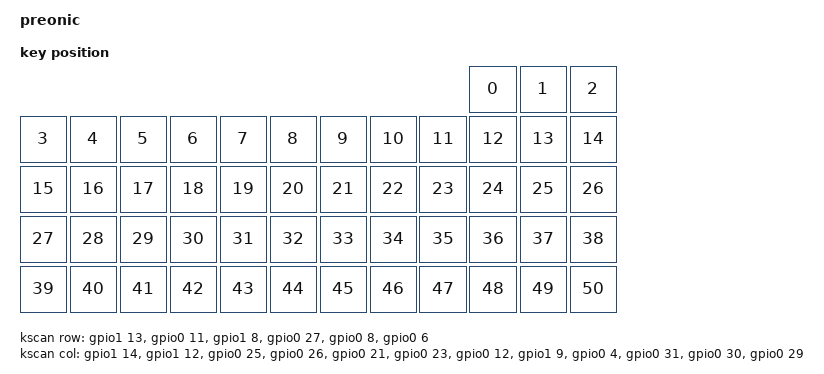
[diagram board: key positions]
/*
 * Copyright (c) 2022 Pete Johanson
 *
 * SPDX-License-Identifier: MIT
 */

/dts-v1/;
#include <nordic/nrf52840_qiaa.dtsi>
#include <dt-bindings/zmk/matrix_transform.h>
#include <physical_layouts.dtsi>
#include <layouts/common/ortho_5x12/position_map.dtsi>

/ {
	model = "preonic";
	compatible = "keyboardio,preonic";

	chosen {
		zephyr,code-partition = &code_partition;
		zephyr,sram = &sram0;
		zephyr,flash = &flash0;
		zmk,battery = &fuelgauge;
		zmk,kscan = &kscan;
		//zmk,matrix_transform = &mit_transform;
		zmk,physical-layout-position-map = &layout_ortho_5x12_all1u
	};

	layout_ortho_5x12_all1u: layout_ortho_5x12_all1u {
        compatible = "zmk,physical-layout";
        display-name = "50% All 1U/Grid";

        keys  //                     w   h    x    y     rot    rx    ry
            = <&key_physical_attrs 100 100  900    0       0     0     0>
            , <&key_physical_attrs 100 100 1000    0       0     0     0>
            , <&key_physical_attrs 100 100 1100    0       0     0     0>
            , <&key_physical_attrs 100 100    0  100       0     0     0>
            , <&key_physical_attrs 100 100  100  100       0     0     0>
            , <&key_physical_attrs 100 100  200  100       0     0     0>
            , <&key_physical_attrs 100 100  300  100       0     0     0>
            , <&key_physical_attrs 100 100  400  100       0     0     0>
            , <&key_physical_attrs 100 100  500  100       0     0     0>
            , <&key_physical_attrs 100 100  600  100       0     0     0>
            , <&key_physical_attrs 100 100  700  100       0     0     0>
            , <&key_physical_attrs 100 100  800  100       0     0     0>
            , <&key_physical_attrs 100 100  900  100       0     0     0>
            , <&key_physical_attrs 100 100 1000  100       0     0     0>
            , <&key_physical_attrs 100 100 1100  100       0     0     0>
            , <&key_physical_attrs 100 100    0  200       0     0     0>
            , <&key_physical_attrs 100 100  100  200       0     0     0>
            , <&key_physical_attrs 100 100  200  200       0     0     0>
            , <&key_physical_attrs 100 100  300  200       0     0     0>
            , <&key_physical_attrs 100 100  400  200       0     0     0>
            , <&key_physical_attrs 100 100  500  200       0     0     0>
            , <&key_physical_attrs 100 100  600  200       0     0     0>
            , <&key_physical_attrs 100 100  700  200       0     0     0>
            , <&key_physical_attrs 100 100  800  200       0     0     0>
            , <&key_physical_attrs 100 100  900  200       0     0     0>
            , <&key_physical_attrs 100 100 1000  200       0     0     0>
            , <&key_physical_attrs 100 100 1100  200       0     0     0>
            , <&key_physical_attrs 100 100    0  300       0     0     0>
            , <&key_physical_attrs 100 100  100  300       0     0     0>
            , <&key_physical_attrs 100 100  200  300       0     0     0>
            , <&key_physical_attrs 100 100  300  300       0     0     0>
            , <&key_physical_attrs 100 100  400  300       0     0     0>
            , <&key_physical_attrs 100 100  500  300       0     0     0>
            , <&key_physical_attrs 100 100  600  300       0     0     0>
            , <&key_physical_attrs 100 100  700  300       0     0     0>
            , <&key_physical_attrs 100 100  800  300       0     0     0>
            , <&key_physical_attrs 100 100  900  300       0     0     0>
            , <&key_physical_attrs 100 100 1000  300       0     0     0>
            , <&key_physical_attrs 100 100 1100  300       0     0     0>
            , <&key_physical_attrs 100 100    0  400       0     0     0>
            , <&key_physical_attrs 100 100  100  400       0     0     0>
            , <&key_physical_attrs 100 100  200  400       0     0     0>
            , <&key_physical_attrs 100 100  300  400       0     0     0>
            , <&key_physical_attrs 100 100  400  400       0     0     0>
            , <&key_physical_attrs 100 100  500  400       0     0     0>
            , <&key_physical_attrs 100 100  600  400       0     0     0>
            , <&key_physical_attrs 100 100  700  400       0     0     0>
            , <&key_physical_attrs 100 100  800  400       0     0     0>
            , <&key_physical_attrs 100 100  900  400       0     0     0>
            , <&key_physical_attrs 100 100 1000  400       0     0     0>
            , <&key_physical_attrs 100 100 1100  400       0     0     0>
            ;
    };

    position_map {
        compatible = "zmk,physical-layout-position-map";

        layout_ortho_5x12_all1u {
            physical-layout = <&layout_ortho_5x12_all1u>;
            positions 
            = <                            0  1  2>
            , < 3  4  5  6  7  8  9 10 11 12 13 14>            
            , <15 16 17 18 19 20 21 22 23 24 25 26>
            , <27 28 29 30 31 32 33 34 35 36 37 38>
            , <39 40 41 42 43 44 45 46 47 48 49 50>
            ;
        };
    };


	kscan: kscan {
		compatible = "zmk,kscan-gpio-matrix";

		wakeup-source;

		diode-direction = "col2row";

		col-gpios
			= <&gpio1 14 (GPIO_ACTIVE_HIGH)>
			, <&gpio1 12 (GPIO_ACTIVE_HIGH)>
			, <&gpio0 25 (GPIO_ACTIVE_HIGH)>
			, <&gpio0 26 (GPIO_ACTIVE_HIGH)>
			, <&gpio0 21 (GPIO_ACTIVE_HIGH)>
			, <&gpio0 23 (GPIO_ACTIVE_HIGH)>
			, <&gpio0 12 (GPIO_ACTIVE_HIGH)>
			, <&gpio1 9  (GPIO_ACTIVE_HIGH)>
			, <&gpio0 4  (GPIO_ACTIVE_HIGH)>
			, <&gpio0 31 (GPIO_ACTIVE_HIGH)>
			, <&gpio0 30 (GPIO_ACTIVE_HIGH)>
			, <&gpio0 29 (GPIO_ACTIVE_HIGH)>
			;

		row-gpios
			= <&gpio1 13 (GPIO_ACTIVE_HIGH | GPIO_PULL_DOWN)>
			, <&gpio0 11 (GPIO_ACTIVE_HIGH | GPIO_PULL_DOWN)>
			, <&gpio1 8  (GPIO_ACTIVE_HIGH | GPIO_PULL_DOWN)>
			, <&gpio0 27 (GPIO_ACTIVE_HIGH | GPIO_PULL_DOWN)>
			, <&gpio0 8  (GPIO_ACTIVE_HIGH | GPIO_PULL_DOWN)>
			, <&gpio0 6  (GPIO_ACTIVE_HIGH | GPIO_PULL_DOWN)>
			;
	};
};

&pinctrl {
       i2c0_default: i2c0_default {
               group1 {
                       psels = <NRF_PSEL(TWIM_SDA, 0, 7)>,
                               <NRF_PSEL(TWIM_SCL, 0, 5)>;
               };
       };

       i2c0_sleep: i2c0_sleep {
               group1 {
                       psels = <NRF_PSEL(TWIM_SDA, 0, 7)>,
                               <NRF_PSEL(TWIM_SCL, 0, 5)>;
                       low-power-enable;
               };
       };
};

&i2c0 {
	status = "okay";
	compatible = "nordic,nrf-twim";
	pinctrl-0 = <&i2c0_default>;
	pinctrl-1 = <&i2c0_sleep>;
	pinctrl-names = "default", "sleep";
	clock-frequency = <100000>;

	fuelgauge: max17048@36 {
		compatible = "zmk,maxim-max17048";
		reg = <0x36>;
	};
};

&adc {
	status = "okay";
};

&gpiote {
	status = "okay";
};

&gpio0 {
	status = "okay";
};

&gpio1 {
	status = "okay";
};


zephyr_udc0: &usbd {
	status = "okay";
}; 

&flash0 {
	/*
	 * For more information, see:
	 * http://docs.zephyrproject.org/latest/devices/dts/flash_partitions.html
	 */
	partitions {
		compatible = "fixed-partitions";
		#address-cells = <1>;
		#size-cells = <1>;
		
		sd_partition: partition@0 {
		    reg = <0x00000000 0x00026000>;
		};
		code_partition: partition@26000 {
		    reg = <0x00026000 0x000c6000>;
		};
		
		/*
		 * The flash starting at 0x000ec000 and ending at
		 * 0x000f3fff is reserved for use by the application.
		 */
		
		/*
		 * Storage partition will be used by FCB/LittleFS/NVS
		 * if enabled.
		 */
		storage_partition: partition@ec000 {
		    reg = <0x000ec000 0x00008000>;
		};
		
		boot_partition: partition@f4000 {
		    reg = <0x000f4000 0x0000c000>;
		};
	};
};
